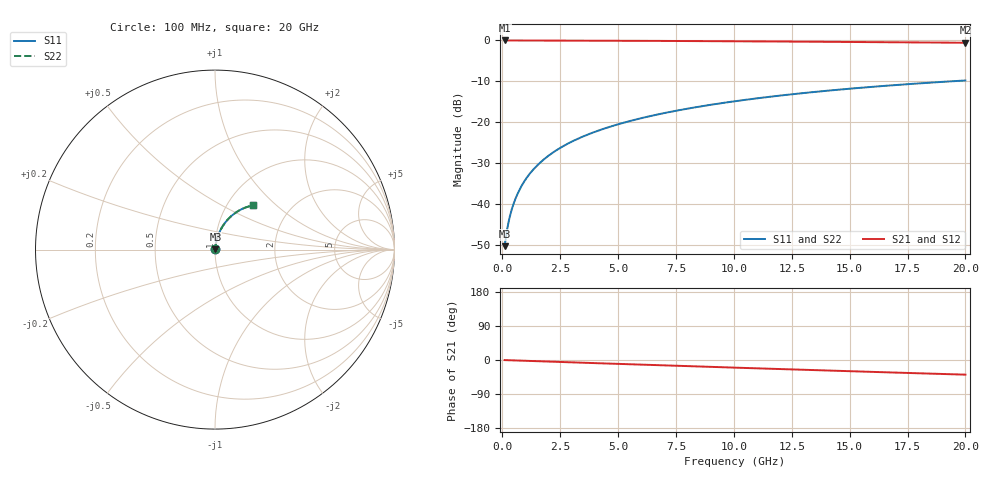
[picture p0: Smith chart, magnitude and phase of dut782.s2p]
! Touchstone file exported from HFSS 2026.1.0
!  File:  C:/ffzhzh/LocalFiles/Ansys_Project_Files/temp_train_TMRDL_782_1783155815_43440.aedt
!  Generated:  05:04:45 PM Jul  4, 2026
!  Design:  TMRDL
!  Project:  temp_train_TMRDL_782_1783155815_43440
! Variables:
!  h_bsmrdl = 2um
!  h_ox = 20um
!  h_rdl = 5um
!  h_sub = 80um
!  h_tmrdl = 5.4um
!  h_tsv = 80um
!  h_via = 3um
!  l_bsmrdl = 300um
!  l_sub = 991.64um
!  l_tmrdl = 591.64um
!  m_sub = 200um
!  pitch = 41.33um
!  r_tsv = 6um
!  s_tmrdl = 10um
!  w_bsmrdl = 18um
!  w_sub = 500um
!  w_tmrdl = 19.08um
!  x_tsv_center1 = 601.18um
!  x_tsv_center2 = 919.18um
!  x_tsv_center3 = 1529.9um
!  x_tsv_center4 = 1847.9um
!  x_tsv_center5 = 2458.62um
!  x_tsv_center6 = 2776.62um
# GHz S MA R 50.000000
! Terminal data exported
! Port[1] = TM_RDL1_1_T1
! Port[2] = TM_RDL1_1_T2
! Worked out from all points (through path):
!   200 points, 100 MHz to 20 GHz, reference 50 ohm
!   highest |S21| = -0.02 dB at 100 MHz (marker M1); lowest = -0.6 dB at 20 GHz (marker M2)
!   group delay of S21, straight-line fit = 5.37 ps
!   lowest |S11| = -50.3 dB at 100 MHz (marker M3), VSWR 1.01, Z = 50.2 + j0.214 ohm
!   |S11| at or under -10 dB: start of sweep to 19.41 GHz
!   |S22| runs from -50.3 to -9.8 dB; largest |S21 - S12| = 2.7e-15
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0.1  0.003049 44.2  0.9978 -0.2  0.9978 -0.2  0.003049 44.2
! Gamma 0 0 0 0
! Port Impedance 50 0 50 0
0.2  0.004758 60.5  0.9977 -0.4  0.9977 -0.4  0.004758 60.5
0.3  0.006575 67.8  0.9976 -0.6  0.9976 -0.6  0.006575 67.8
0.4  0.008426 71.9  0.9975 -0.8  0.9975 -0.8  0.008426 71.9
0.5  0.0103 74.6  0.9974 -1.1  0.9974 -1.1  0.0103 74.6
0.6  0.01219 76.4  0.9973 -1.3  0.9973 -1.3  0.01219 76.4
0.8  0.01601 78.6  0.9972 -1.7  0.9972 -1.7  0.01601 78.6
1.1  0.02177 80.2  0.9969 -2.3  0.9969 -2.3  0.02177 80.2
1.5  0.02945 80.9  0.9965 -3.1  0.9965 -3.1  0.02945 80.9
1.8  0.03519 80.9  0.9961 -3.8  0.9961 -3.8  0.03519 80.9
2.1  0.04089 80.7  0.9957 -4.4  0.9957 -4.4  0.04089 80.7
2.7  0.0522 80.1  0.9947 -5.6  0.9947 -5.6  0.0522 80.1
3.5  0.06704 78.8  0.9931 -7.2  0.9931 -7.2  0.06704 78.8
4.2  0.07981 77.7  0.9917 -8.6  0.9917 -8.6  0.07981 77.7
5  0.09419 76.3  0.9898 -10.2  0.9898 -10.2  0.0942 76.3
5.9  0.1101 74.7  0.9876 -12.0  0.9876 -12.0  0.1101 74.7
6.8  0.1258 73.1  0.9852 -13.8  0.9852 -13.8  0.1258 73.1
8.3  0.1514 70.4  0.9809 -16.8  0.9809 -16.8  0.1514 70.3
10.1  0.1812 67.1  0.9751 -20.3  0.9751 -20.3  0.1812 67.1
13.4  0.233 61.1  0.9631 -26.6  0.9631 -26.6  0.233 61.1
16.7  0.2805 55.2  0.9496 -32.7  0.9496 -32.7  0.2805 55.2
20  0.3235 49.5  0.9354 -38.7  0.9354 -38.7  0.3235 49.4
